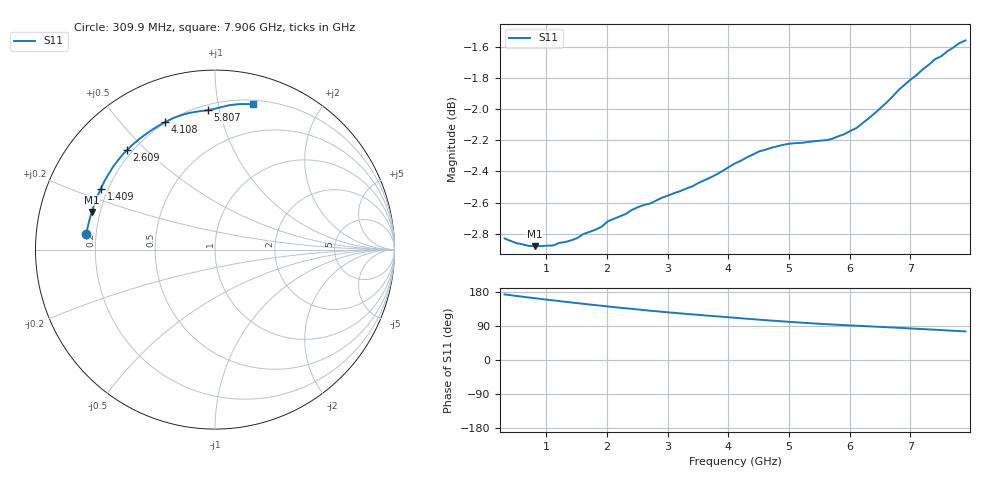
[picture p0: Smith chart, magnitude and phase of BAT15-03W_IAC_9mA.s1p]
! Infineon Technologies  Discrete & RF Semiconductors
! BAT15-03W-E6327
! IAC = 9 mA
! One-Port S-Parameters
# Hz  S  MA  R  50
!f  S11
!Hz  Mag  Ang
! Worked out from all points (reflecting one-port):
!   77 points, 309.9 MHz to 7.906 GHz, reference 50 ohm
!   lowest |S11| = -2.9 dB at 809.6 MHz (marker M1), VSWR 6.09, Z = 8.39 + j7.24 ohm
!   phase of S11 starts at 173 deg and turns -98 deg over the sweep
!   S11 on the Smith chart (normalised r, x): 309.9 MHz: 0.16, +0.06; 1.409 GHz: 0.17, +0.24; 2.609 GHz: 0.18, +0.44; 4.108 GHz: 0.20, +0.66; 5.807 GHz: 0.23, +0.92; 7.906 GHz: 0.24, +1.27
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3.0985e8  0.722 173.1
6.097e8  0.7188 166.9
8.096e8  0.7179 163.1
9.0955e8  0.7179 161.1
1.2094e9  0.7196 155.5
1.30935e9  0.7201 153.6
1.4093e9  0.721 151.8
1.6092e9  0.7244 148.3
1.70915e9  0.7255 146.5
2.009e9  0.7311 141.4
2.2089e9  0.7338 138.0
2.4088e9  0.7374 134.8
2.6087e9  0.7401 131.7
2.90855e9  0.7441 127.2
3.2084e9  0.7477 123.0
3.6082e9  0.7538 117.8
4.10795e9  0.7631 111.4
4.50775e9  0.77 106.5
4.8076e9  0.7728 102.9
5.10745e9  0.7746 99.6
5.4073e9  0.7757 96.5
5.8071e9  0.7785 92.9
6.007e9  0.7816 91.3
6.50675e9  0.7949 87.4
7.0065e9  0.8119 83.2
7.4063e9  0.8242 79.9
7.8061e9  0.834 76.3
7.90605e9  0.8357 75.4
